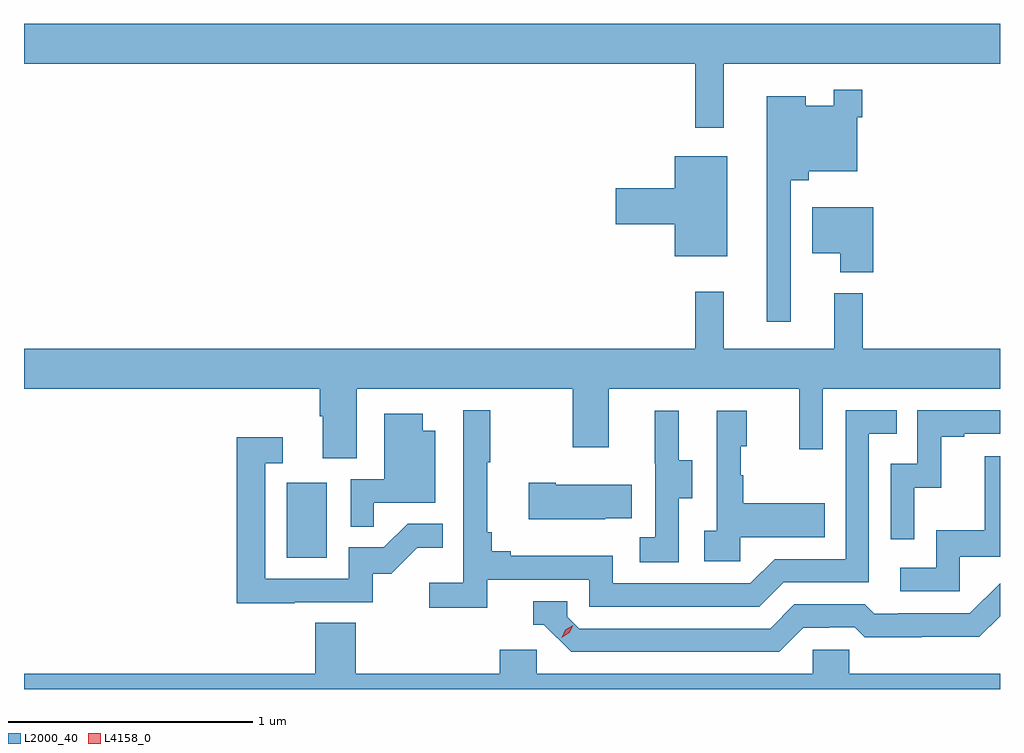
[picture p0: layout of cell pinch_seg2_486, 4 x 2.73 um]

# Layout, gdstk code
import gdstk
lib = gdstk.Library(unit=1e-6, precision=1e-09)
def R(c, l, rs):  # rectangles x0, y0, x1, y1
    for r in rs: c.add(gdstk.rectangle(r[:2], r[2:], *l))
def P(c, l, *ps):  # polygons
    for p in ps: c.add(gdstk.Polygon(p, *l))
L2000_40 = (2000, 40)
L4158_0 = (4158, 0)

pinch_seg2_486 = lib.new_cell('pinch_seg2_486')
R(pinch_seg2_486, L2000_40, [(964.298,584.34,964.462,584.647)])
P(pinch_seg2_486, L2000_40, [(966.088,586.364),(967.221,586.364),(967.221,586.528),(963.221,586.528),(963.221,586.364),(965.971,586.364),(965.971,586.101),(966.088,586.101)],
  [(966.363,585.887),(966.437,585.887),(966.437,585.923),(966.636,585.923),(966.636,586.145),(966.656,586.145),(966.656,586.258),(966.54,586.258),(966.54,586.192),(966.424,586.192),(966.424,586.231),(966.266,586.231),(966.266,585.306),(966.363,585.306)],
  [(966.103,585.985),(965.888,585.985),(965.888,585.854),(965.646,585.854),(965.646,585.707),(965.888,585.707),(965.888,585.575),(966.103,585.575)],
  [(966.701,585.775),(966.452,585.775),(966.452,585.587),(966.566,585.587),(966.566,585.509),(966.701,585.509)],
  [(964.585,585.032),(965.47,585.032),(965.47,584.793),(965.617,584.793),(965.617,585.032),(966.398,585.032),(966.398,584.784),(966.495,584.784),(966.495,585.032),(967.221,585.032),(967.221,585.196),(966.659,585.196),(966.659,585.424),(966.542,585.424),(966.542,585.196),(966.089,585.196),(966.089,585.43),(965.971,585.43),(965.971,585.196),(963.221,585.196),(963.221,585.032),(964.433,585.032),(964.433,584.92),(964.445,584.92),(964.445,584.746),(964.585,584.746)],
  [(965.12,584.25),(965.538,584.25),(965.538,584.139),(966.235,584.139),(966.334,584.238),(966.684,584.238),(966.684,584.847),(966.797,584.847),(966.797,584.943),(966.588,584.943),(966.588,584.334),(966.297,584.334),(966.198,584.235),(965.634,584.235),(965.634,584.347),(965.215,584.347),(965.215,584.366),(965.138,584.366),(965.138,584.443),(965.119,584.443),(965.119,584.731),(965.131,584.731),(965.131,584.944),(965.022,584.944),(965.022,584.236),(964.881,584.236),(964.881,584.134),(965.12,584.134)],
  [(966.87,584.627),(966.98,584.627),(966.98,584.835),(967.075,584.835),(967.075,584.847),(967.221,584.847),(967.221,584.943),(966.882,584.943),(966.882,584.724),(966.774,584.724),(966.774,584.415),(966.87,584.415)],
  [(966.156,584.423),(966.503,584.423),(966.503,584.563),(966.169,584.563),(966.169,584.678),(966.159,584.678),(966.159,584.796),(966.184,584.796),(966.184,584.941),(966.06,584.941),(966.06,584.45),(966.009,584.45),(966.009,584.325),(966.156,584.325)],
  [(965.904,584.584),(965.959,584.584),(965.959,584.739),(965.905,584.739),(965.905,584.941),(965.807,584.941),(965.807,584.727),(965.808,584.727),(965.808,584.423),(965.745,584.423),(965.745,584.32),(965.904,584.32)],
  [(964.655,584.565),(964.906,584.565),(964.906,584.86),(964.855,584.86),(964.855,584.929),(964.697,584.929),(964.697,584.661),(964.56,584.661),(964.56,584.467),(964.655,584.467)],
  [(964.331,584.157),(964.65,584.157),(964.65,584.274),(964.726,584.274),(964.833,584.381),(964.937,584.381),(964.937,584.479),(964.793,584.479),(964.696,584.382),(964.551,584.382),(964.551,584.253),(964.209,584.253),(964.209,584.727),(964.282,584.727),(964.282,584.833),(964.093,584.833),(964.093,584.152),(964.331,584.152)],
  [(967.056,584.343),(967.221,584.343),(967.221,584.755),(967.159,584.755),(967.159,584.452),(966.96,584.452),(966.96,584.298),(966.813,584.298),(966.813,584.202),(967.056,584.202)],
  [(965.603,584.501),(965.711,584.501),(965.711,584.638),(965.401,584.638),(965.401,584.646),(965.289,584.646),(965.289,584.498),(965.603,584.498)],
  [(966.415,584.052),(966.522,584.052),(966.522,584.055),(966.625,584.055),(966.667,584.013),(966.9,584.013),(966.9,584.015),(967.136,584.015),(967.221,584.1),(967.221,584.235),(967.098,584.112),(966.805,584.112),(966.805,584.109),(966.706,584.109),(966.667,584.148),(966.378,584.148),(966.279,584.049),(965.496,584.049),(965.448,584.097),(965.448,584.16),(965.309,584.16),(965.309,584.064),(965.352,584.064),(965.463,583.953),(966.316,583.953)],
  [(967.221,583.864),(966.603,583.864),(966.603,583.962),(966.453,583.962),(966.453,583.864),(965.322,583.864),(965.322,583.962),(965.171,583.962),(965.171,583.864),(964.58,583.864),(964.58,584.072),(964.415,584.072),(964.415,583.864),(963.221,583.864),(963.221,583.8),(967.221,583.8)])
P(pinch_seg2_486, L4158_0, [(965.424,584.012),(965.424,584.012),(965.44,584.044),(965.471,584.063),(965.472,584.063),(965.472,584.063),(965.455,584.031),(965.424,584.012)])

lib.write_gds('pinch_seg2_486.gds')
